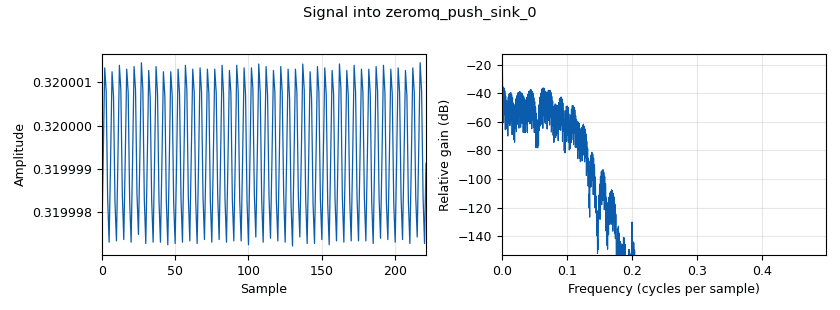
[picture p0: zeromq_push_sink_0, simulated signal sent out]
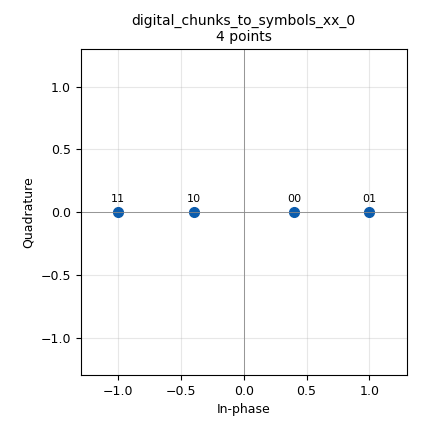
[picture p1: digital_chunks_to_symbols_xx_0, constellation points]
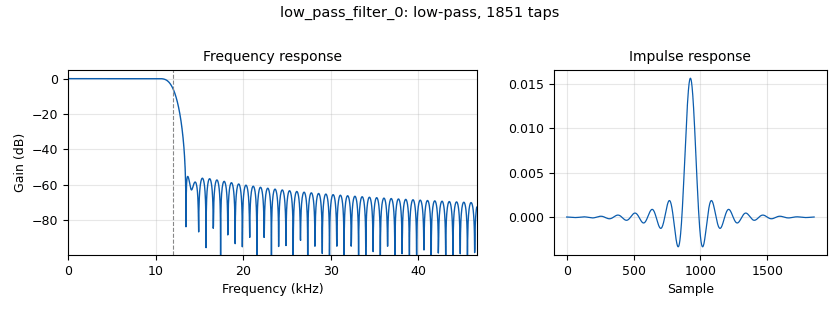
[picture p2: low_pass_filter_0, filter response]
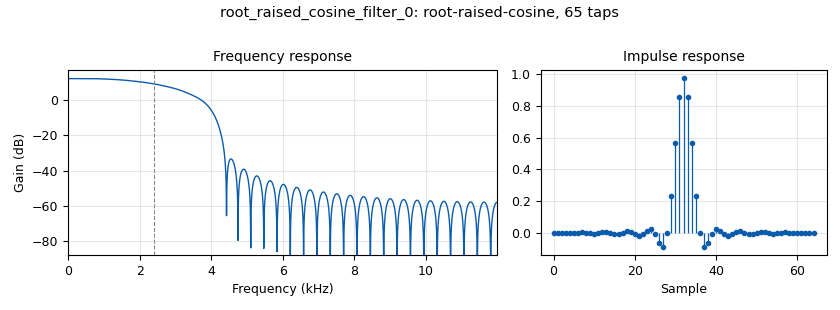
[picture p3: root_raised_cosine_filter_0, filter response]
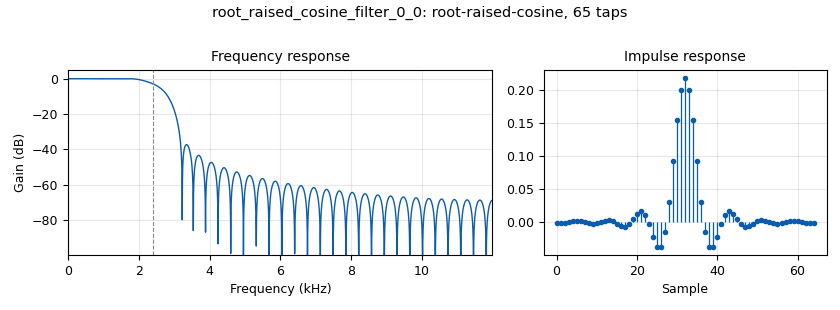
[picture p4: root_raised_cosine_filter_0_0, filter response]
options:
  parameters:
    generate_options: qt_gui
    id: dmr_modem
    output_language: python
    title: DMR Modem
  states: {}

blocks:
- name: baud_rate
  id: variable
  parameters:
    value: '4800'
  states: {}
- name: bs_sync_data_word
  id: variable
  parameters:
    value: ( -1.0, -1.0, 1.0, 1.0, -1.0, 1.0, 1.0, -1.0, -1.0, -1.0, 1.0, -1.0, 1.0, -1.0, -1.0, -1.0, -1.0, 1.0, 1.0, -1.0, 1.0, 1.0, 1.0, -1.0 )
  states: {}
- name: center_freq
  id: variable_qtgui_entry
  parameters:
    gui_hint: 0,0,1,1
    label: Frequency
    type: int
    value: '444237500'
  states: {state: disabled}
- name: fsk_deviation_hz
  id: variable
  parameters:
    value: '2749'
  states: {}
- name: radio_samp_rate
  id: variable
  parameters:
    value: '1536000'
  states: {}
- name: rf_freq_interp
  id: variable
  parameters:
    value: '64'
  states: {}
- name: rrc_tap_num
  id: variable
  parameters:
    value: '64'
  states: {}
- name: samp_rate
  id: variable
  parameters:
    value: '24000'
  states: {}
- name: test_burst
  id: variable
  parameters:
    value: (0, 1, 2, 3, 4, 5, 6, 7, 8, 9, 10, 11, 12, 13, 14, 15, 223, 245, 125, 117, 223, 93, 0, 1, 2, 3, 4, 5, 6, 7, 8, 9, 10, 11, 12, 13, 14, 15)
  states: {}
- name: test_burst_2
  id: variable
  parameters:
    value: (0, 0, 0, 0, 0, 0, 0, 0, 0, 0, 0, 0, 0, 0, 0, 0, 223, 245, 125, 117, 223, 93, 0, 0, 0, 0, 0, 0, 0, 0, 0, 0, 0, 0, 0, 0, 0, 0)
  states: {}
- name: analog_const_source_x_0
  id: analog_const_source_x
  parameters:
    const: '0x5f'
    type: byte
  states: {state: disabled}
- name: analog_frequency_modulator_fc_0
  id: analog_frequency_modulator_fc
  parameters:
    sensitivity: 2*math.pi*fsk_deviation_hz/samp_rate
  states: {}
- name: analog_quadrature_demod_cf_0
  id: analog_quadrature_demod_cf
  parameters:
    gain: samp_rate/(2*math.pi*fsk_deviation_hz)
  states: {}
- name: analog_random_uniform_source_x_0
  id: analog_random_uniform_source_x
  parameters:
    maximum: '255'
    minimum: '0'
    seed: '0'
    type: byte
  states: {state: disabled}
- name: blocks_message_debug_0
  id: blocks_message_debug
  parameters: {}
  states: {state: disabled}
- name: blocks_packed_to_unpacked_xx_0
  id: blocks_packed_to_unpacked_xx
  parameters:
    bits_per_chunk: '2'
    endianness: gr.GR_MSB_FIRST
    type: byte
  states: {}
- name: blocks_probe_rate_0
  id: blocks_probe_rate
  parameters:
    alpha: '0.15'
    mintime: '500.0'
    type: float
  states: {state: disabled}
- name: blocks_throttle_1
  id: blocks_throttle
  parameters:
    samples_per_second: baud_rate
    type: float
  states: {}
- name: blocks_vector_source_x_0
  id: blocks_vector_source_x
  parameters:
    repeat: 'True'
    type: byte
    vector: test_burst_2
  states: {}
- name: channels_channel_model_0
  id: channels_channel_model
  parameters:
    epsilon: '1.0'
    freq_offset: '0.0'
    noise_voltage: '0.0'
    seed: '0'
    taps: 1.0 + 0.0j
  states: {}
- name: digital_chunks_to_symbols_xx_0
  id: digital_chunks_to_symbols_xx
  parameters:
    dimension: '1'
    in_type: byte
    out_type: float
    symbol_table: '[ 0.4, 1.0, -0.4, -1.0 ]'
  states: {}
- name: low_pass_filter_0
  id: low_pass_filter
  parameters:
    cutoff_freq: '12000'
    decim: rf_freq_interp
    gain: '1'
    samp_rate: samp_rate * rf_freq_interp
    type: fir_filter_ccf
    width: '2000'
    win: window.WIN_HAMMING
  states: {}
- name: qtgui_freq_sink_x_0
  id: qtgui_freq_sink_x
  parameters:
    bw: samp_rate
    ctrlpanel: 'True'
    fc: '0'
    fftsize: '1024'
    grid: 'True'
    name: RF Channel
    type: complex
    wintype: window.WIN_HAMMING
  states: {state: disabled}
- name: qtgui_freq_sink_x_0_0
  id: qtgui_freq_sink_x
  parameters:
    autoscale: 'True'
    bw: samp_rate
    ctrlpanel: 'True'
    fc: '0'
    fftsize: '1024'
    grid: 'True'
    name: RRC Out
    tr_mode: qtgui.TRIG_MODE_AUTO
    type: float
    wintype: window.WIN_HAMMING
  states: {state: disabled}
- name: qtgui_histogram_sink_x_0
  id: qtgui_histogram_sink_x
  parameters:
    bins: '100'
    size: '1024'
    type: float
    xmax: '1'
    xmin: '-1'
  states: {state: disabled}
- name: qtgui_time_sink_x_0
  id: qtgui_time_sink_x
  parameters:
    ctrlpanel: 'True'
    grid: 'True'
    name: RF Channel
    size: '100000'
    srate: samp_rate*rf_freq_interp
    tr_mode: qtgui.TRIG_MODE_AUTO
    type: complex
    update_time: '0.025'
    ymax: '4'
    ymin: '-4'
  states: {state: disabled}
- name: qtgui_time_sink_x_1
  id: qtgui_time_sink_x
  parameters:
    ctrlpanel: 'True'
    grid: 'True'
    name: Symbol Stream
    size: '512'
    srate: '100000'
    type: float
    ymax: '1.5'
    ymin: '-1.5'
  states: {state: disabled}
- name: qtgui_time_sink_x_3
  id: qtgui_time_sink_x
  parameters:
    ctrlpanel: 'True'
    name: Output
    size: '1024'
    srate: '100000'
    stemplot: 'True'
    tr_mode: qtgui.TRIG_MODE_AUTO
    type: float
    ymax: '1.5'
    ymin: '-1.5'
  states: {state: disabled}
- name: rational_resampler_xxx_0
  id: rational_resampler_xxx
  parameters:
    decim: '1'
    fbw: '0.4'
    interp: rf_freq_interp
    type: ccc
  states: {}
- name: root_raised_cosine_filter_0
  id: root_raised_cosine_filter
  parameters:
    alpha: '0.8'
    gain: '4.0'
    interp: '5'
    ntaps: rrc_tap_num
    samp_rate: samp_rate
    sym_rate: baud_rate
    type: interp_fir_filter_fff
  states: {}
- name: root_raised_cosine_filter_0_0
  id: root_raised_cosine_filter
  parameters:
    alpha: '0.3'
    decim: '1'
    gain: '1.0'
    ntaps: rrc_tap_num
    samp_rate: samp_rate
    sym_rate: baud_rate
    type: fir_filter_fff
  states: {}
- name: soapy_rtlsdr_source_0
  id: soapy_rtlsdr_source
  parameters:
    center_freq: center_freq
    gain: '30'
    samp_rate: radio_samp_rate
    type: fc32
  states: {state: disabled}
- name: virtual_sink_0
  id: virtual_sink
  parameters:
    stream_id: mod_out
  states: {}
- name: virtual_sink_1
  id: virtual_sink
  parameters:
    stream_id: rf_out
  states: {}
- name: virtual_source_0
  id: virtual_source
  parameters:
    stream_id: mod_out
  states: {}
- name: virtual_source_1
  id: virtual_source
  parameters:
    stream_id: rf_out
  states: {}
- name: zeromq_push_sink_0
  id: zeromq_push_sink
  parameters:
    address: tcp://127.0.0.1:55000
    timeout: '100'
    type: float
  states: {}

connections:
- [analog_const_source_x_0, '0', blocks_packed_to_unpacked_xx_0, '0']
- [analog_frequency_modulator_fc_0, '0', virtual_sink_0, '0']
- [analog_quadrature_demod_cf_0, '0', root_raised_cosine_filter_0_0, '0']
- [analog_random_uniform_source_x_0, '0', blocks_packed_to_unpacked_xx_0, '0']
- [blocks_packed_to_unpacked_xx_0, '0', digital_chunks_to_symbols_xx_0, '0']
- [blocks_probe_rate_0, rate, blocks_message_debug_0, print]
- [blocks_throttle_1, '0', blocks_probe_rate_0, '0']
- [blocks_throttle_1, '0', root_raised_cosine_filter_0, '0']
- [blocks_vector_source_x_0, '0', blocks_packed_to_unpacked_xx_0, '0']
- [channels_channel_model_0, '0', qtgui_freq_sink_x_0, '0']
- [channels_channel_model_0, '0', qtgui_time_sink_x_0, '0']
- [channels_channel_model_0, '0', virtual_sink_1, '0']
- [digital_chunks_to_symbols_xx_0, '0', blocks_throttle_1, '0']
- [digital_chunks_to_symbols_xx_0, '0', qtgui_time_sink_x_1, '0']
- [low_pass_filter_0, '0', analog_quadrature_demod_cf_0, '0']
- [rational_resampler_xxx_0, '0', channels_channel_model_0, '0']
- [root_raised_cosine_filter_0, '0', analog_frequency_modulator_fc_0, '0']
- [root_raised_cosine_filter_0, '0', qtgui_freq_sink_x_0_0, '0']
- [root_raised_cosine_filter_0_0, '0', qtgui_histogram_sink_x_0, '0']
- [root_raised_cosine_filter_0_0, '0', qtgui_time_sink_x_3, '0']
- [root_raised_cosine_filter_0_0, '0', zeromq_push_sink_0, '0']
- [soapy_rtlsdr_source_0, '0', low_pass_filter_0, '0']
- [virtual_source_0, '0', rational_resampler_xxx_0, '0']
- [virtual_source_1, '0', low_pass_filter_0, '0']

metadata:
  file_format: 1
